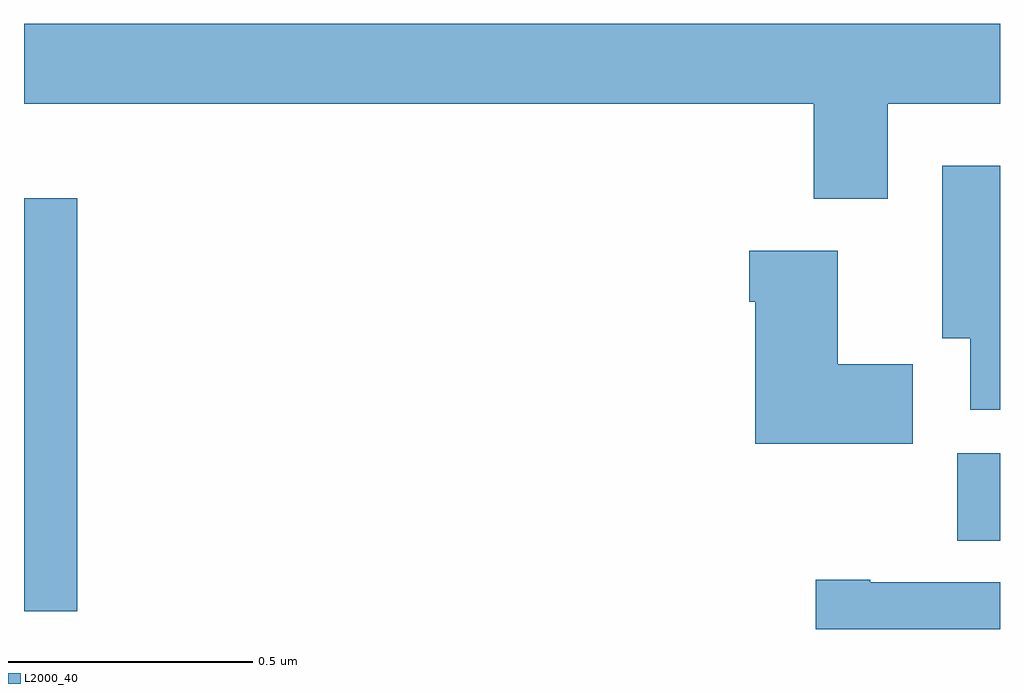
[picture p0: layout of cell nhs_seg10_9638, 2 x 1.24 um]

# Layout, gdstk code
import gdstk
lib = gdstk.Library(unit=1e-6, precision=1e-09)
def R(c, l, rs):  # rectangles x0, y0, x1, y1
    for r in rs: c.add(gdstk.rectangle(r[:2], r[2:], *l))
def P(c, l, *ps):  # polygons
    for p in ps: c.add(gdstk.Polygon(p, *l))
L2000_40 = (2000, 40)

nhs_seg10_9638 = lib.new_cell('nhs_seg10_9638')
R(nhs_seg10_9638, L2000_40, [(232,1288.62,232.109,1289.467), (233.912,1288.765,234,1288.944)])
P(nhs_seg10_9638, L2000_40, [(233.77,1289.66),(234,1289.66),(234,1289.824),(232,1289.824),(232,1289.66),(233.618,1289.66),(233.618,1289.466),(233.77,1289.466)],
  [(234,1289.533),(233.882,1289.533),(233.882,1289.18),(233.939,1289.18),(233.939,1289.033),(234,1289.033)],
  [(233.821,1289.127),(233.668,1289.127),(233.668,1289.359),(233.486,1289.359),(233.486,1289.255),(233.498,1289.255),(233.498,1288.964),(233.821,1288.964)],
  [(234,1288.68),(233.734,1288.68),(233.734,1288.685),(233.622,1288.685),(233.622,1288.584),(234,1288.584)])

lib.write_gds('nhs_seg10_9638.gds')
